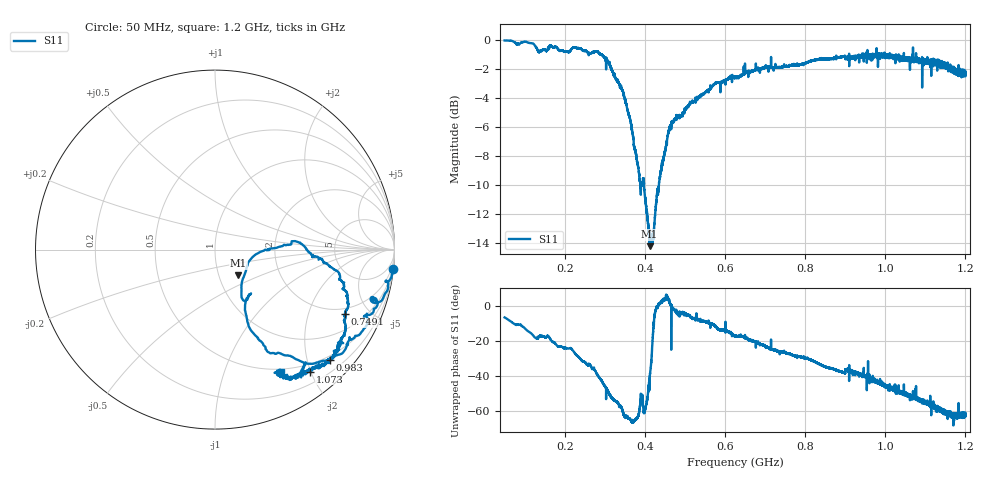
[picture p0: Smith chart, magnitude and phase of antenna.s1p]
! Calibrated NanoVNA antenna measurement, band-limited to the calibrated dynamic range
! Samples with nonfinite or |Gamma| >= 1 were excluded; see broadband-excluded.json
# Hz S RI R 50
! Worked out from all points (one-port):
!   40000 points, 50 MHz to 1.2 GHz, reference 50 ohm
!   lowest |S11| = -14.2 dB at 411.7 MHz (marker M1), VSWR 1.48, Z = 61.9 - j18.5 ohm
!   |S11| at or under -10 dB: 393.1495 MHz to 393.5035 MHz (354 kHz wide, 0.09 % of centre); 393.5097 MHz to 393.7457 MHz (236 kHz wide, 0.06 % of centre); 397.9 MHz to 435.2 MHz (37.35 MHz wide, 8.97 % of centre)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
!   S11 on the Smith chart (normalised r, x): 50 MHz: 0, -18; 749.1 MHz: 1.68, -3.51; 983 MHz: 0.43, -2.42; 1.073 GHz: 0.38, -1.99; 1.2 GHz: 0.47, -1.54
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5e7  0.9914 -0.1108
1.259575e8  0.9094 -0.2933
1.56375e8  0.8841 -0.2682
1.9375e8  0.8446 -0.3626
2.227012e8  0.8478 -0.4134
2.766938e8  0.7288 -0.5516
3.090662e8  0.5518 -0.6346
3.375e8  0.38 -0.5858
3.497188e8  0.2869 -0.5583
3.720288e8  0.1811 -0.4008
3.8925e8  0.1842 -0.2622
3.98565e8  0.1483 -0.2649
4.11675e8  0.13 -0.144
4.203e8  0.1962 -0.0559
4.336688e8  0.3016 0.00503
4.511488e8  0.418 0.0276
4.8125e8  0.5408 -0.0341
5.744288e8  0.693 -0.1369
6.25e8  0.714 -0.216
7.491138e8  0.7253 -0.3601
7.6875e8  0.7256 -0.3832
8.942438e8  0.6922 -0.5355
9.125e8  0.6912 -0.5202
9.82995e8  0.639 -0.6134
1.05625e9  0.5492 -0.664
1.07304e9  0.529 -0.6793
1.138504e9  0.411 -0.7246
1.2e9  0.3517 -0.6803
